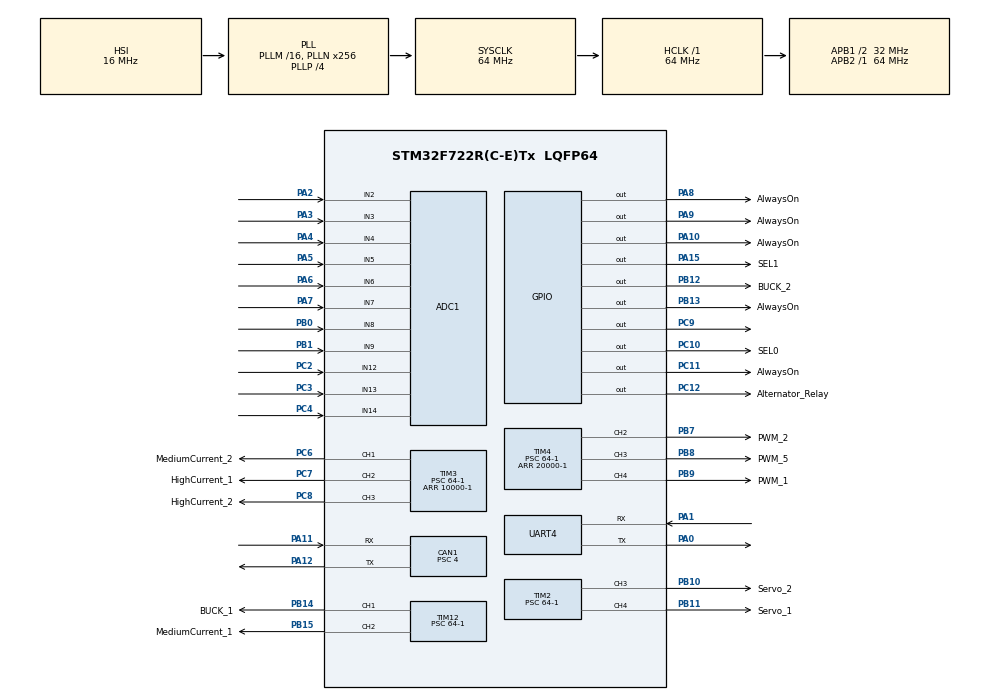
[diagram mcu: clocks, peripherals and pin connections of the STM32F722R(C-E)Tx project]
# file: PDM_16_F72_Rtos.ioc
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ADC1.Channel-0\#ChannelRegularConversion=ADC_CHANNEL_5
ADC1.Channel-1\#ChannelRegularConversion=ADC_CHANNEL_5
ADC1.Channel-13\#ChannelRegularConversion=ADC_CHANNEL_7
ADC1.Channel-14\#ChannelRegularConversion=ADC_CHANNEL_7
ADC1.Channel-15\#ChannelRegularConversion=ADC_CHANNEL_12
ADC1.Channel-16\#ChannelRegularConversion=ADC_CHANNEL_12
ADC1.Channel-2\#ChannelRegularConversion=ADC_CHANNEL_6
ADC1.Channel-3\#ChannelRegularConversion=ADC_CHANNEL_6
ADC1.ClockPrescaler=ADC_CLOCK_SYNC_PCLK_DIV4
ADC1.DMAContinuousRequests=ENABLE
ADC1.EOCSelection=ADC_EOC_SEQ_CONV
ADC1.ExternalTrigConv=ADC_EXTERNALTRIGCONV_T8_TRGO
ADC1.NbrOfConversion=8
ADC1.NbrOfConversionFlag=1
ADC1.Rank-0\#ChannelRegularConversion=1
ADC1.Rank-1\#ChannelRegularConversion=2
ADC1.Rank-13\#ChannelRegularConversion=5
ADC1.Rank-14\#ChannelRegularConversion=6
ADC1.Rank-15\#ChannelRegularConversion=7
ADC1.Rank-16\#ChannelRegularConversion=8
ADC1.Rank-2\#ChannelRegularConversion=3
ADC1.Rank-3\#ChannelRegularConversion=4
ADC1.SamplingTime-0\#ChannelRegularConversion=ADC_SAMPLETIME_480CYCLES
ADC1.SamplingTime-1\#ChannelRegularConversion=ADC_SAMPLETIME_480CYCLES
ADC1.SamplingTime-13\#ChannelRegularConversion=ADC_SAMPLETIME_480CYCLES
ADC1.SamplingTime-14\#ChannelRegularConversion=ADC_SAMPLETIME_480CYCLES
ADC1.SamplingTime-15\#ChannelRegularConversion=ADC_SAMPLETIME_480CYCLES
ADC1.SamplingTime-16\#ChannelRegularConversion=ADC_SAMPLETIME_480CYCLES
ADC1.SamplingTime-2\#ChannelRegularConversion=ADC_SAMPLETIME_480CYCLES
ADC1.SamplingTime-3\#ChannelRegularConversion=ADC_SAMPLETIME_480CYCLES
ADC1.ScanConvMode=ADC_SCAN_ENABLE
ADC1.master=1
CAN1.BS1=CAN_BS1_6TQ
CAN1.CalculateBaudRate=1000000
CAN1.CalculateTimeBit=1000
CAN1.CalculateTimeQuantum=125.0
CAN1.Mode=CAN_MODE_NORMAL
CAN1.NART=DISABLE
CAN1.Prescaler=4
CORTEX_M7.default_mode_Activation=1
Dma.ADC1.0.Direction=DMA_PERIPH_TO_MEMORY
Dma.ADC1.0.FIFOMode=DMA_FIFOMODE_DISABLE
Dma.ADC1.0.Instance=DMA2_Stream0
Dma.ADC1.0.MemDataAlignment=DMA_MDATAALIGN_HALFWORD
Dma.ADC1.0.MemInc=DMA_MINC_ENABLE
Dma.ADC1.0.Mode=DMA_CIRCULAR
Dma.ADC1.0.PeriphDataAlignment=DMA_PDATAALIGN_HALFWORD
Dma.ADC1.0.PeriphInc=DMA_PINC_DISABLE
Dma.ADC1.0.Priority=DMA_PRIORITY_HIGH
Dma.Request0=ADC1
FREERTOS.Tasks01=defaultTask,24,256,StartDefaultTask,Default,NULL,Dynamic,NULL,NULL;myTask02,15,256,StartTask02,Default,NULL,Dynamic,NULL,NULL;servoTask,40,256,ServoTask,Default,NULL,Dynamic,NULL,NULL
FREERTOS.configGENERATE_RUN_TIME_STATS=1
FREERTOS.configRECORD_STACK_HIGH_ADDRESS=1
FREERTOS.configUSE_NEWLIB_REENTRANT=1
FREERTOS.configUSE_STATS_FORMATTING_FUNCTIONS=1
Mcu.Family=STM32F7
Mcu.Name=STM32F722R(C-E)Tx
Mcu.Package=LQFP64
NVIC.CAN1_RX0_IRQn=true\:5\:0\:false\:false\:true\:true\:true\:true\:true
NVIC.DMA2_Stream0_IRQn=true\:5\:0\:false\:false\:true\:true\:false\:true\:true
NVIC.PriorityGroup=NVIC_PRIORITYGROUP_4
NVIC.TIM8_TRG_COM_TIM14_IRQn=true\:5\:0\:false\:false\:true\:false\:false\:true\:true
NVIC.TimeBase=TIM8_TRG_COM_TIM14_IRQn
NVIC.TimeBaseIP=TIM14
PA0-WKUP.Mode=Asynchronous
PA0-WKUP.Signal=UART4_TX
PA1.Mode=Asynchronous
PA1.Signal=UART4_RX
PA10.GPIO_Label=AlwaysOn
PA10.GPIO_PuPd=GPIO_PULLUP
PA10.PinState=GPIO_PIN_SET
PA10.Signal=GPIO_Output
PA11.Mode=CAN_Activate
PA11.Signal=CAN1_RX
PA12.Mode=CAN_Activate
PA12.Signal=CAN1_TX
PA13.Mode=Serial_Wire
PA13.Signal=SYS_JTMS-SWDIO
PA14.Mode=Serial_Wire
PA14.Signal=SYS_JTCK-SWCLK
PA15.GPIO_Label=SEL1
PA15.GPIO_PuPd=GPIO_PULLDOWN
PA15.GPIO_Speed=GPIO_SPEED_FREQ_HIGH
PA15.PinState=GPIO_PIN_SET
PA15.Signal=GPIO_Output
PA2.Signal=ADCx_IN2
PA3.Signal=ADCx_IN3
PA4.Signal=ADCx_IN4
PA5.Signal=ADCx_IN5
PA6.Signal=ADCx_IN6
PA7.Signal=ADCx_IN7
PA8.GPIO_Label=AlwaysOn
PA8.GPIO_PuPd=GPIO_PULLUP
PA8.PinState=GPIO_PIN_SET
PA8.Signal=GPIO_Output
PA9.GPIO_Label=AlwaysOn
PA9.GPIO_ModeDefaultOutputPP=GPIO_MODE_OUTPUT_PP
PA9.GPIO_PuPd=GPIO_PULLUP
PA9.PinState=GPIO_PIN_SET
PA9.Signal=GPIO_Output
PB0.Signal=ADCx_IN8
PB1.Signal=ADCx_IN9
PB10.GPIO_Label=Servo_2
PB10.Signal=S_TIM2_CH3
PB11.GPIO_Label=Servo_1
PB11.Signal=S_TIM2_CH4
PB12.GPIO_Label=BUCK_2
PB12.GPIO_PuPd=GPIO_PULLDOWN
PB12.GPIO_Speed=GPIO_SPEED_FREQ_HIGH
PB12.PinState=GPIO_PIN_SET
PB12.Signal=GPIO_Output
PB13.GPIO_Label=AlwaysOn
PB13.GPIO_PuPd=GPIO_PULLUP
PB13.PinState=GPIO_PIN_SET
PB13.Signal=GPIO_Output
PB14.GPIO_Label=BUCK_1
PB14.Signal=S_TIM12_CH1
PB15.GPIO_Label=MediumCurrent_1
PB15.Signal=S_TIM12_CH2
PB7.GPIO_Label=PWM_2
PB7.Signal=S_TIM4_CH2
PB8.GPIO_Label=PWM_5
PB8.Signal=S_TIM4_CH3
PB9.GPIO_Label=PWM_1
PB9.Signal=S_TIM4_CH4
PC10.GPIO_Label=SEL0
PC10.GPIO_PuPd=GPIO_PULLDOWN
PC10.GPIO_Speed=GPIO_SPEED_FREQ_HIGH
PC10.PinState=GPIO_PIN_SET
PC10.Signal=GPIO_Output
PC11.GPIO_Label=AlwaysOn
PC11.GPIO_PuPd=GPIO_PULLUP
PC11.PinState=GPIO_PIN_SET
PC11.Signal=GPIO_Output
PC12.GPIO_Label=Alternator_Relay
PC12.GPIO_PuPd=GPIO_PULLUP
PC12.PinState=GPIO_PIN_SET
PC12.Signal=GPIO_Output
PC2.Signal=ADCx_IN12
PC3.Signal=ADCx_IN13
PC4.Signal=ADCx_IN14
PC6.GPIO_Label=MediumCurrent_2
PC6.Signal=S_TIM3_CH1
PC7.GPIO_Label=HighCurrent_1
PC7.Signal=S_TIM3_CH2
PC8.GPIO_Label=HighCurrent_2
PC8.Signal=S_TIM3_CH3
PC9.GPIO_PuPd=GPIO_PULLUP
PC9.PinState=GPIO_PIN_SET
PC9.Signal=GPIO_Output
ProjectManager.HeapSize=0x200
ProjectManager.StackSize=0x400
ProjectManager.TargetToolchain=STM32CubeIDE
RCC.AHBFreq_Value=64000000
RCC.APB1CLKDivider=RCC_HCLK_DIV2
RCC.APB1Freq_Value=32000000
RCC.APB1TimFreq_Value=64000000
RCC.APB2Freq_Value=64000000
RCC.APB2TimFreq_Value=64000000
RCC.CortexFreq_Value=64000000
RCC.HCLKFreq_Value=64000000
RCC.HSE_VALUE=25000000
RCC.HSI_VALUE=16000000
RCC.LSE_VALUE=32768
RCC.PLLN=256
RCC.PLLP=RCC_PLLP_DIV4
RCC.SYSCLKFreq_VALUE=64000000
RCC.SYSCLKSource=RCC_SYSCLKSOURCE_PLLCLK
RCC.USBFreq_Value=128000000
RCC.VCOOutputFreq_Value=256000000
SH.ADCx_IN12.0=ADC1_IN12,IN12
SH.ADCx_IN13.0=ADC1_IN13,IN13
SH.ADCx_IN14.0=ADC1_IN14,IN14
SH.ADCx_IN2.0=ADC1_IN2,IN2
SH.ADCx_IN3.0=ADC1_IN3,IN3
SH.ADCx_IN4.0=ADC1_IN4,IN4
SH.ADCx_IN5.0=ADC1_IN5,IN5
SH.ADCx_IN6.0=ADC1_IN6,IN6
SH.ADCx_IN7.0=ADC1_IN7,IN7
SH.ADCx_IN8.0=ADC1_IN8,IN8
SH.ADCx_IN9.0=ADC1_IN9,IN9
SH.S_TIM12_CH1.0=TIM12_CH1,PWM Generation1 CH1
SH.S_TIM12_CH2.0=TIM12_CH2,PWM Generation2 CH2
SH.S_TIM2_CH3.0=TIM2_CH3,PWM Generation3 CH3
SH.S_TIM2_CH4.0=TIM2_CH4,PWM Generation4 CH4
SH.S_TIM3_CH1.0=TIM3_CH1,PWM Generation1 CH1
SH.S_TIM3_CH2.0=TIM3_CH2,PWM Generation2 CH2
SH.S_TIM3_CH3.0=TIM3_CH3,PWM Generation3 CH3
SH.S_TIM4_CH2.0=TIM4_CH2,PWM Generation2 CH2
SH.S_TIM4_CH3.0=TIM4_CH3,PWM Generation3 CH3
SH.S_TIM4_CH4.0=TIM4_CH4,PWM Generation4 CH4
TIM10.Period=10000-1
TIM10.Prescaler=64-1
TIM12.Channel-PWM\ Generation1\ CH1=TIM_CHANNEL_1
TIM12.Channel-PWM\ Generation2\ CH2=TIM_CHANNEL_2
TIM12.Period=10000-1
TIM12.Prescaler=64-1
TIM2.Channel-PWM\ Generation3\ CH3=TIM_CHANNEL_3
TIM2.Channel-PWM\ Generation4\ CH4=TIM_CHANNEL_4
TIM2.Period=20000-1
TIM2.Prescaler=64-1
TIM3.Channel-PWM\ Generation1\ CH1=TIM_CHANNEL_1
TIM3.Channel-PWM\ Generation2\ CH2=TIM_CHANNEL_2
TIM3.Channel-PWM\ Generation3\ CH3=TIM_CHANNEL_3
TIM3.OCFastMode_PWM-PWM\ Generation1\ CH1=TIM_OCFAST_ENABLE
TIM3.OCFastMode_PWM-PWM\ Generation2\ CH2=TIM_OCFAST_ENABLE
TIM3.OCFastMode_PWM-PWM\ Generation3\ CH3=TIM_OCFAST_ENABLE
TIM3.Period=10000-1
TIM3.Prescaler=64-1
TIM4.Channel-PWM\ Generation2\ CH2=TIM_CHANNEL_2
TIM4.Channel-PWM\ Generation3\ CH3=TIM_CHANNEL_3
TIM4.Channel-PWM\ Generation4\ CH4=TIM_CHANNEL_4
TIM4.Period=20000-1
TIM4.Prescaler=64-1
TIM8.Period=20000-1
TIM8.Prescaler=64-1
TIM8.TIM_MasterOutputTrigger=TIM_TRGO_UPDATE
TIM8.TIM_MasterOutputTrigger2=TIM_TRGO2_UPDATE
VP_ADC1_TempSens_Input.Mode=IN-TempSens
VP_ADC1_Vref_Input.Mode=IN-Vrefint
VP_FREERTOS_VS_CMSIS_V2.Mode=CMSIS_V2
VP_SYS_VS_tim14.Mode=TIM14
VP_TIM10_VS_ClockSourceINT.Mode=Enable_Timer
VP_TIM12_VS_ClockSourceINT.Mode=Internal
VP_TIM2_VS_ClockSourceINT.Mode=Internal
VP_TIM3_VS_ClockSourceINT.Mode=Internal
VP_TIM4_VS_ClockSourceINT.Mode=Internal
VP_TIM8_VS_ClockSourceINT.Mode=Internal
board=custom

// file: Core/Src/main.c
/* USER CODE BEGIN Header */
/**
  ******************************************************************************
  * @file           : main.c
  * @brief          : Main program body
  ******************************************************************************
  * @attention
  *
  * Copyright (c) 2026 STMicroelectronics.
  * All rights reserved.
  *
  * This software is licensed under terms that can be found in the LICENSE file
  * in the root directory of this software component.
  * If no LICENSE file comes with this software, it is provided AS-IS.
  *
  ******************************************************************************
  */
/* USER CODE END Header */
#include "main.h"
#include "cmsis_os.h"
#include "adc.h"
#include "can.h"
#include "dma.h"
#include "tim.h"
#include "usart.h"
#include "gpio.h"

void SystemClock_Config(void);
static void MPU_Config(void);
void MX_FREERTOS_Init(void);

int main(void)
{

  /* MPU Configuration--------------------------------------------------------*/
  MPU_Config();

  /* MCU Configuration--------------------------------------------------------*/

  /* Reset of all peripherals, Initializes the Flash interface and the Systick. */
  HAL_Init();

  /* Configure the system clock */
  SystemClock_Config();

  /* Initialize all configured peripherals */
  MX_GPIO_Init();
  MX_DMA_Init();
  MX_ADC1_Init();
  MX_CAN1_Init();
  MX_TIM2_Init();
  MX_TIM3_Init();
  MX_TIM4_Init();
  MX_TIM12_Init();
  MX_UART4_Init();
  MX_TIM8_Init();
  MX_TIM10_Init();

  /* Init scheduler */
  osKernelInitialize();  /* Call init function for freertos objects (in cmsis_os2.c) */
  MX_FREERTOS_Init();

  /* Start scheduler */
  osKernelStart();

  /* We should never get here as control is now taken by the scheduler */

  /* Infinite loop */
  while (1)
  {

  }
}

void SystemClock_Config(void)
{
  RCC_OscInitTypeDef RCC_OscInitStruct = {0};
  RCC_ClkInitTypeDef RCC_ClkInitStruct = {0};

  /** Configure the main internal regulator output voltage
  */
  __HAL_RCC_PWR_CLK_ENABLE();
  __HAL_PWR_VOLTAGESCALING_CONFIG(PWR_REGULATOR_VOLTAGE_SCALE3);

  /** Initializes the RCC Oscillators according to the specified parameters
  * in the RCC_OscInitTypeDef structure.
  */
  RCC_OscInitStruct.OscillatorType = RCC_OSCILLATORTYPE_HSI;
  RCC_OscInitStruct.HSIState = RCC_HSI_ON;
  RCC_OscInitStruct.HSICalibrationValue = RCC_HSICALIBRATION_DEFAULT;
  RCC_OscInitStruct.PLL.PLLState = RCC_PLL_ON;
  RCC_OscInitStruct.PLL.PLLSource = RCC_PLLSOURCE_HSI;
  RCC_OscInitStruct.PLL.PLLM = 16;
  RCC_OscInitStruct.PLL.PLLN = 256;
  RCC_OscInitStruct.PLL.PLLP = RCC_PLLP_DIV4;
  RCC_OscInitStruct.PLL.PLLQ = 2;
  if (HAL_RCC_OscConfig(&RCC_OscInitStruct) != HAL_OK)
  {
    Error_Handler();
  }

  /** Initializes the CPU, AHB and APB buses clocks
  */
  RCC_ClkInitStruct.ClockType = RCC_CLOCKTYPE_HCLK|RCC_CLOCKTYPE_SYSCLK
                              |RCC_CLOCKTYPE_PCLK1|RCC_CLOCKTYPE_PCLK2;
  RCC_ClkInitStruct.SYSCLKSource = RCC_SYSCLKSOURCE_PLLCLK;
  RCC_ClkInitStruct.AHBCLKDivider = RCC_SYSCLK_DIV1;
  RCC_ClkInitStruct.APB1CLKDivider = RCC_HCLK_DIV2;
  RCC_ClkInitStruct.APB2CLKDivider = RCC_HCLK_DIV1;

  if (HAL_RCC_ClockConfig(&RCC_ClkInitStruct, FLASH_LATENCY_2) != HAL_OK)
  {
    Error_Handler();
  }
}

 /* MPU Configuration */

void MPU_Config(void)
{
  MPU_Region_InitTypeDef MPU_InitStruct = {0};

  /* Disables the MPU */
  HAL_MPU_Disable();

  /** Initializes and configures the Region and the memory to be protected
  */
  MPU_InitStruct.Enable = MPU_REGION_ENABLE;
  MPU_InitStruct.Number = MPU_REGION_NUMBER0;
  MPU_InitStruct.BaseAddress = 0x0;
  MPU_InitStruct.Size = MPU_REGION_SIZE_4GB;
  MPU_InitStruct.SubRegionDisable = 0x87;
  MPU_InitStruct.TypeExtField = MPU_TEX_LEVEL0;
  MPU_InitStruct.AccessPermission = MPU_REGION_NO_ACCESS;
  MPU_InitStruct.DisableExec = MPU_INSTRUCTION_ACCESS_DISABLE;
  MPU_InitStruct.IsShareable = MPU_ACCESS_SHAREABLE;
  MPU_InitStruct.IsCacheable = MPU_ACCESS_NOT_CACHEABLE;
  MPU_InitStruct.IsBufferable = MPU_ACCESS_NOT_BUFFERABLE;

  HAL_MPU_ConfigRegion(&MPU_InitStruct);
  /* Enables the MPU */
  HAL_MPU_Enable(MPU_PRIVILEGED_DEFAULT);

}

void HAL_TIM_PeriodElapsedCallback(TIM_HandleTypeDef *htim)
{
  if (htim->Instance == TIM14)
  {
    HAL_IncTick();
  }
}

void Error_Handler(void)
{
  __disable_irq();
  while (1)
  {
  }
}

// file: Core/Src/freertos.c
/* USER CODE BEGIN Header */
/**
  ******************************************************************************
  * File Name          : freertos.c
  * Description        : Code for freertos applications
  ******************************************************************************
  * @attention
  *
  * Copyright (c) 2026 STMicroelectronics.
  * All rights reserved.
  *
  * This software is licensed under terms that can be found in the LICENSE file
  * in the root directory of this software component.
  * If no LICENSE file comes with this software, it is provided AS-IS.
  *
  ******************************************************************************
  */
/* USER CODE END Header */

#include "FreeRTOS.h"
#include "task.h"
#include "main.h"
#include "cmsis_os.h"

/* USER CODE BEGIN Includes */
#include "app_data.h"
#include "can_manager.h"
#include "adc_manager.h"
#include "servo.h"
#include "adc_manager.h"
#include "output_control.h"
/* USER CODE END Includes */

/* Definitions for defaultTask */
osThreadId_t defaultTaskHandle;
const osThreadAttr_t defaultTask_attributes = {
  .name = "defaultTask",
  .stack_size = 256 * 4,
  .priority = (osPriority_t) osPriorityNormal,
};
/* Definitions for myTask02 */
osThreadId_t myTask02Handle;
const osThreadAttr_t myTask02_attributes = {
  .name = "myTask02",
  .stack_size = 256 * 4,
  .priority = (osPriority_t) osPriorityLow7,
};
/* Definitions for servoTask */
osThreadId_t servoTaskHandle;
const osThreadAttr_t servoTask_attributes = {
  .name = "servoTask",
  .stack_size = 256 * 4,
  .priority = (osPriority_t) osPriorityHigh,
};

void StartDefaultTask(void *argument);
void StartTask02(void *argument);
void ServoTask(void *argument);

void MX_FREERTOS_Init(void); /* (MISRA C 2004 rule 8.1) */

/* Hook prototypes */
void configureTimerForRunTimeStats(void);
unsigned long getRunTimeCounterValue(void);

/* USER CODE BEGIN 1 */
/* Functions needed when configGENERATE_RUN_TIME_STATS is on */
__weak void configureTimerForRunTimeStats(void)
{
 CoreDebug->DEMCR |= CoreDebug_DEMCR_TRCENA_Msk;
 DWT->CTRL |= 1;
 DWT->CYCCNT = 0;
}

__weak unsigned long getRunTimeCounterValue(void)
{
return DWT->CYCCNT;
}
/* USER CODE END 1 */

void MX_FREERTOS_Init(void) {

  /* Create the thread(s) */
  /* creation of defaultTask */
  defaultTaskHandle = osThreadNew(StartDefaultTask, NULL, &defaultTask_attributes);

  /* creation of myTask02 */
  myTask02Handle = osThreadNew(StartTask02, NULL, &myTask02_attributes);

  /* creation of servoTask */
  servoTaskHandle = osThreadNew(ServoTask, NULL, &servoTask_attributes);

}

void StartDefaultTask(void *argument)
{
  /* USER CODE BEGIN StartDefaultTask */
	//ADC_Manager_Start();
	OutputManager_Init();

	//Servo_InitConfig();
  /* Infinite loop */
  for(;;)
  {
	  OutputTask(argument);
	 // Actuator_SelfCheck(0);
	  HAL_GPIO_WritePin(Alternator_Relay_GPIO_Port, Alternator_Relay_Pin,genericPWMDuty[7]);
    osDelay(10);
  }
  /* USER CODE END StartDefaultTask */
}

void StartTask02(void *argument)
{
  /* USER CODE BEGIN StartTask02 */
	CAN_Manager_Init();
	osDelay(1000);
  /* Infinite loop */
  for(;;)
  {
	 // CANTaskApp();

    osDelay(100);
  }
  /* USER CODE END StartTask02 */
}

void ServoTask(void *argument)
{
  /* USER CODE BEGIN ServoTask */

	Servo_InitConfig();
  /* Infinite loop */
  for(;;)
  {

	  Servos_Update();

    osDelay(10);
  }
  /* USER CODE END ServoTask */
}
